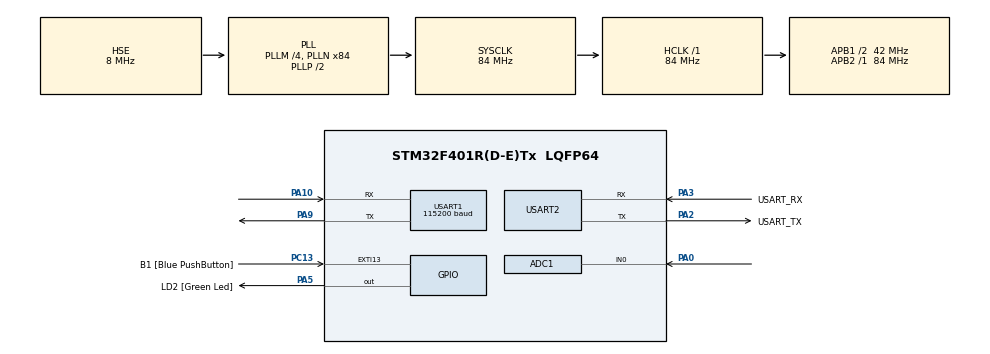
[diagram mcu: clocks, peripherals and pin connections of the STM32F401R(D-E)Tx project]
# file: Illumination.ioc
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ADC1.Channel-0\#ChannelRegularConversion=ADC_CHANNEL_0
ADC1.ClockPrescaler=ADC_CLOCK_SYNC_PCLK_DIV8
ADC1.ContinuousConvMode=ENABLE
ADC1.NbrOfConversion=1
ADC1.NbrOfConversionFlag=1
ADC1.Rank-0\#ChannelRegularConversion=1
ADC1.SamplingTime-0\#ChannelRegularConversion=ADC_SAMPLETIME_480CYCLES
ADC1.master=1
Dma.ADC1.0.Direction=DMA_PERIPH_TO_MEMORY
Dma.ADC1.0.FIFOMode=DMA_FIFOMODE_DISABLE
Dma.ADC1.0.Instance=DMA2_Stream0
Dma.ADC1.0.MemDataAlignment=DMA_MDATAALIGN_HALFWORD
Dma.ADC1.0.MemInc=DMA_MINC_ENABLE
Dma.ADC1.0.Mode=DMA_CIRCULAR
Dma.ADC1.0.PeriphDataAlignment=DMA_PDATAALIGN_HALFWORD
Dma.ADC1.0.PeriphInc=DMA_PINC_DISABLE
Dma.ADC1.0.Priority=DMA_PRIORITY_LOW
Dma.Request0=ADC1
Mcu.Family=STM32F4
Mcu.Name=STM32F401R(D-E)Tx
Mcu.Package=LQFP64
NVIC.DMA2_Stream0_IRQn=true\:0\:0\:false\:false\:true\:false\:true
NVIC.PriorityGroup=NVIC_PRIORITYGROUP_0
NVIC.TIM4_IRQn=true\:0\:0\:false\:false\:true\:true\:true
NVIC.USART1_IRQn=true\:0\:0\:false\:false\:true\:true\:true
PA0-WKUP.Signal=ADCx_IN0
PA10.Mode=Asynchronous
PA10.Signal=USART1_RX
PA13.GPIO_Label=TMS
PA13.Mode=Trace_Asynchronous_SW
PA13.Signal=SYS_JTMS-SWDIO
PA14.GPIO_Label=TCK
PA14.Mode=Trace_Asynchronous_SW
PA14.Signal=SYS_JTCK-SWCLK
PA2.GPIO_Label=USART_TX
PA2.GPIO_Mode=GPIO_MODE_AF_PP
PA2.GPIO_PuPd=GPIO_NOPULL
PA2.GPIO_Speed=GPIO_SPEED_FREQ_LOW
PA2.Mode=Asynchronous
PA2.Signal=USART2_TX
PA3.GPIO_Label=USART_RX
PA3.GPIO_Mode=GPIO_MODE_AF_PP
PA3.GPIO_PuPd=GPIO_NOPULL
PA3.GPIO_Speed=GPIO_SPEED_FREQ_LOW
PA3.Mode=Asynchronous
PA3.Signal=USART2_RX
PA5.GPIO_Label=LD2 [Green Led]
PA5.GPIO_Mode=GPIO_MODE_OUTPUT_PP
PA5.GPIO_PuPd=GPIO_NOPULL
PA5.GPIO_Speed=GPIO_SPEED_FREQ_LOW
PA5.Signal=GPIO_Output
PA9.Mode=Asynchronous
PA9.Signal=USART1_TX
PB3.GPIO_Label=SWO
PB3.Mode=Trace_Asynchronous_SW
PB3.Signal=SYS_JTDO-SWO
PC13-ANTI_TAMP.GPIO_Label=B1 [Blue PushButton]
PC13-ANTI_TAMP.GPIO_ModeDefaultEXTI=GPIO_MODE_IT_FALLING
PC13-ANTI_TAMP.GPIO_PuPd=GPIO_NOPULL
PC13-ANTI_TAMP.Signal=GPXTI13
PC14-OSC32_IN.Mode=LSE-External-Oscillator
PC14-OSC32_IN.Signal=RCC_OSC32_IN
PC15-OSC32_OUT.Mode=LSE-External-Oscillator
PC15-OSC32_OUT.Signal=RCC_OSC32_OUT
PH0\ -\ OSC_IN.Mode=HSE-External-Oscillator
PH0\ -\ OSC_IN.Signal=RCC_OSC_IN
PH1\ -\ OSC_OUT.Mode=HSE-External-Oscillator
PH1\ -\ OSC_OUT.Signal=RCC_OSC_OUT
ProjectManager.HeapSize=0x200
ProjectManager.StackSize=0x400
ProjectManager.TargetToolchain=STM32CubeIDE
RCC.48MHZClocksFreq_Value=24000000
RCC.AHBFreq_Value=84000000
RCC.APB1CLKDivider=RCC_HCLK_DIV2
RCC.APB1Freq_Value=42000000
RCC.APB1TimFreq_Value=84000000
RCC.APB2Freq_Value=84000000
RCC.APB2TimFreq_Value=84000000
RCC.CortexFreq_Value=84000000
RCC.HCLKFreq_Value=84000000
RCC.HSE_VALUE=8000000
RCC.HSI_VALUE=16000000
RCC.PLLM=4
RCC.PLLN=84
RCC.PLLQ=7
RCC.PLLSourceVirtual=RCC_PLLSOURCE_HSE
RCC.SYSCLKFreq_VALUE=84000000
RCC.SYSCLKSource=RCC_SYSCLKSOURCE_PLLCLK
RCC.VCOOutputFreq_Value=168000000
SH.ADCx_IN0.0=ADC1_IN0,IN0
TIM4.Period=6000-1
TIM4.Prescaler=8400-1
USART1.BaudRate=115200
USART1.VirtualMode=VM_ASYNC
USART2.VirtualMode=VM_ASYNC
VP_TIM4_VS_ClockSourceINT.Mode=Internal
board=NUCLEO-F401RE

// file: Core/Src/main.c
/* USER CODE BEGIN Header */
/**
  ******************************************************************************
  * @file           : main.c
  * @brief          : Main program body
  ******************************************************************************
  * @attention
  *
  * <h2><center>&copy; Copyright (c) 2021 STMicroelectronics.
  * All rights reserved.</center></h2>
  *
  * This software component is licensed by ST under BSD 3-Clause license,
  * the "License"; You may not use this file except in compliance with the
  * License. You may obtain a copy of the License at:
  *                        opensource.org/licenses/BSD-3-Clause
  *
  ******************************************************************************
  */
/* USER CODE END Header */
#include "main.h"

/* USER CODE BEGIN Includes */
#include <stdio.h>
#include <string.h>
#include <stdlib.h>
#include <inttypes.h>
/* USER CODE END Includes */

/* USER CODE BEGIN PD */
#define BUFFER_SIZE 128
/* USER CODE END PD */

ADC_HandleTypeDef hadc1;
DMA_HandleTypeDef hdma_adc1;

TIM_HandleTypeDef htim4;

UART_HandleTypeDef huart1;
UART_HandleTypeDef huart2;

/* USER CODE BEGIN PV */
uint8_t rx_buffer[BUFFER_SIZE] = {0};
uint16_t rx_buffer_len;
int threshold = 0;

/*ADC vars*/
uint16_t ADC_Raw[1] = {0};

/* USER CODE END PV */

void SystemClock_Config(void);
static void MX_GPIO_Init(void);
static void MX_USART2_UART_Init(void);
static void MX_DMA_Init(void);
static void MX_ADC1_Init(void);
static void MX_USART1_UART_Init(void);
static void MX_TIM4_Init(void);

/* USER CODE BEGIN 0 */

/*#############################################################################*/

/*----------------------ITM_SendChar-------------------------------------------*/
int _write(int file, uint8_t *ptr, int len) {
	for (int DataIdx = 0; DataIdx < len; DataIdx++) {
		ITM_SendChar(*ptr++);
	}
	return len;
}
/*----------------------ITM_SendChar-------------------------------------------*/

/*------------------------IDLE_Callback---------------------------------------*/
void HAL_UART_IDLE_Callback(UART_HandleTypeDef *huart) {
	if (huart == &huart1) { //проверка, из нужного ли uart пришли данные
		//printf("IDLE = OK\n\r");
		__HAL_UART_DISABLE_IT(&huart1, UART_IT_IDLE);
		rx_buffer_len = BUFFER_SIZE - huart->RxXferCount;

		/*----------основные действия с входящими данными-----------*/
		if (huart1.gState != HAL_UART_STATE_BUSY_TX) {
			printf("%s",rx_buffer);
			sscanf(rx_buffer, "%d", &threshold);
		    //HAL_UART_Transmit_IT(&huart1, (uint8_t*)a, sizeof(a));
			memset(rx_buffer,0,BUFFER_SIZE);
		}
		/*----------основные действия с входящими данными-----------*/

		HAL_UART_AbortReceive_IT(&huart1);
		__HAL_UART_CLEAR_IDLEFLAG(&huart1);
		__HAL_UART_ENABLE_IT(&huart1, UART_IT_IDLE);
		HAL_UART_Receive_IT(&huart1, rx_buffer, BUFFER_SIZE);
	}
}
/*------------------------IDLE_Callback---------------------------------------*/

/*------------------------RxCpltCallback---------------------------------------*/
void HAL_UART_RxCpltCallback(UART_HandleTypeDef *huart) {
	if (huart == &huart1) { //проверка, из нужного ли uart пришли данные
		printf("RxCpltCallback = OK\n\r");
		__HAL_UART_DISABLE_IT(&huart1, UART_IT_IDLE);

		printf("rx_buffer is overflow\n\r");

		HAL_UART_AbortReceive_IT(&huart1);
		__HAL_UART_CLEAR_IDLEFLAG(&huart1);
		__HAL_UART_ENABLE_IT(&huart1, UART_IT_IDLE);
		HAL_UART_Receive_IT(&huart1, rx_buffer, BUFFER_SIZE);

	}
}
/*------------------------RxCpltCallback---------------------------------------*/

/* timer 4 IRQ Handler********************/
void HAL_TIM_PeriodElapsedCallback(TIM_HandleTypeDef *htim) {
	if(htim->Instance == TIM4) {
		/*set every 100 ms*/
		HAL_ADC_Start_DMA(&hadc1, (uint32_t*)ADC_Raw, 1);
	}

}
/*#############################################################################*/

/* USER CODE END 0 */

int main(void)
{

  /* MCU Configuration--------------------------------------------------------*/

  /* Reset of all peripherals, Initializes the Flash interface and the Systick. */
  HAL_Init();

  /* Configure the system clock */
  SystemClock_Config();

  /* Initialize all configured peripherals */
  MX_GPIO_Init();
  MX_USART2_UART_Init();
  MX_DMA_Init();
  MX_ADC1_Init();
  MX_USART1_UART_Init();
  MX_TIM4_Init();

  /* Infinite loop */
  /* USER CODE BEGIN WHILE */
  HAL_ADC_Start_IT(&hadc1);
  HAL_ADC_Start_DMA(&hadc1, (uint32_t*)ADC_Raw, 1);
  HAL_TIM_Base_Start_IT(&htim4);
  __HAL_UART_ENABLE_IT(&huart1,UART_IT_IDLE);
  HAL_UART_Receive_IT(&huart1, rx_buffer, BUFFER_SIZE);

  while (1)
  {
    /* USER CODE END WHILE */

    /* USER CODE BEGIN 3 */
	if (ADC_Raw[0] < threshold +50) {
		HAL_GPIO_WritePin(LD2_GPIO_Port, LD2_Pin, GPIO_PIN_SET);
	} else if (ADC_Raw[0] > threshold +100){
		HAL_GPIO_WritePin(LD2_GPIO_Port, LD2_Pin, GPIO_PIN_RESET);

	}
	// HAL_UART_Transmit_DMA(&huart1, a, sizeof(a));
  }
  /* USER CODE END 3 */
}

void SystemClock_Config(void)
{
  RCC_OscInitTypeDef RCC_OscInitStruct = {0};
  RCC_ClkInitTypeDef RCC_ClkInitStruct = {0};

  /** Configure the main internal regulator output voltage
  */
  __HAL_RCC_PWR_CLK_ENABLE();
  __HAL_PWR_VOLTAGESCALING_CONFIG(PWR_REGULATOR_VOLTAGE_SCALE2);
  /** Initializes the RCC Oscillators according to the specified parameters
  * in the RCC_OscInitTypeDef structure.
  */
  RCC_OscInitStruct.OscillatorType = RCC_OSCILLATORTYPE_HSE;
  RCC_OscInitStruct.HSEState = RCC_HSE_ON;
  RCC_OscInitStruct.PLL.PLLState = RCC_PLL_ON;
  RCC_OscInitStruct.PLL.PLLSource = RCC_PLLSOURCE_HSE;
  RCC_OscInitStruct.PLL.PLLM = 4;
  RCC_OscInitStruct.PLL.PLLN = 84;
  RCC_OscInitStruct.PLL.PLLP = RCC_PLLP_DIV2;
  RCC_OscInitStruct.PLL.PLLQ = 7;
  if (HAL_RCC_OscConfig(&RCC_OscInitStruct) != HAL_OK)
  {
    Error_Handler();
  }
  /** Initializes the CPU, AHB and APB buses clocks
  */
  RCC_ClkInitStruct.ClockType = RCC_CLOCKTYPE_HCLK|RCC_CLOCKTYPE_SYSCLK
                              |RCC_CLOCKTYPE_PCLK1|RCC_CLOCKTYPE_PCLK2;
  RCC_ClkInitStruct.SYSCLKSource = RCC_SYSCLKSOURCE_PLLCLK;
  RCC_ClkInitStruct.AHBCLKDivider = RCC_SYSCLK_DIV1;
  RCC_ClkInitStruct.APB1CLKDivider = RCC_HCLK_DIV2;
  RCC_ClkInitStruct.APB2CLKDivider = RCC_HCLK_DIV1;

  if (HAL_RCC_ClockConfig(&RCC_ClkInitStruct, FLASH_LATENCY_2) != HAL_OK)
  {
    Error_Handler();
  }
}

static void MX_ADC1_Init(void)
{

  ADC_ChannelConfTypeDef sConfig = {0};

  /** Configure the global features of the ADC (Clock, Resolution, Data Alignment and number of conversion)
  */
  hadc1.Instance = ADC1;
  hadc1.Init.ClockPrescaler = ADC_CLOCK_SYNC_PCLK_DIV8;
  hadc1.Init.Resolution = ADC_RESOLUTION_12B;
  hadc1.Init.ScanConvMode = DISABLE;
  hadc1.Init.ContinuousConvMode = ENABLE;
  hadc1.Init.DiscontinuousConvMode = DISABLE;
  hadc1.Init.ExternalTrigConvEdge = ADC_EXTERNALTRIGCONVEDGE_NONE;
  hadc1.Init.ExternalTrigConv = ADC_SOFTWARE_START;
  hadc1.Init.DataAlign = ADC_DATAALIGN_RIGHT;
  hadc1.Init.NbrOfConversion = 1;
  hadc1.Init.DMAContinuousRequests = DISABLE;
  hadc1.Init.EOCSelection = ADC_EOC_SINGLE_CONV;
  if (HAL_ADC_Init(&hadc1) != HAL_OK)
  {
    Error_Handler();
  }
  /** Configure for the selected ADC regular channel its corresponding rank in the sequencer and its sample time.
  */
  sConfig.Channel = ADC_CHANNEL_0;
  sConfig.Rank = 1;
  sConfig.SamplingTime = ADC_SAMPLETIME_480CYCLES;
  if (HAL_ADC_ConfigChannel(&hadc1, &sConfig) != HAL_OK)
  {
    Error_Handler();
  }

}

static void MX_TIM4_Init(void)
{

  TIM_ClockConfigTypeDef sClockSourceConfig = {0};
  TIM_MasterConfigTypeDef sMasterConfig = {0};

  htim4.Instance = TIM4;
  htim4.Init.Prescaler = 8400-1;
  htim4.Init.CounterMode = TIM_COUNTERMODE_UP;
  htim4.Init.Period = 6000-1;
  htim4.Init.ClockDivision = TIM_CLOCKDIVISION_DIV1;
  htim4.Init.AutoReloadPreload = TIM_AUTORELOAD_PRELOAD_DISABLE;
  if (HAL_TIM_Base_Init(&htim4) != HAL_OK)
  {
    Error_Handler();
  }
  sClockSourceConfig.ClockSource = TIM_CLOCKSOURCE_INTERNAL;
  if (HAL_TIM_ConfigClockSource(&htim4, &sClockSourceConfig) != HAL_OK)
  {
    Error_Handler();
  }
  sMasterConfig.MasterOutputTrigger = TIM_TRGO_RESET;
  sMasterConfig.MasterSlaveMode = TIM_MASTERSLAVEMODE_DISABLE;
  if (HAL_TIMEx_MasterConfigSynchronization(&htim4, &sMasterConfig) != HAL_OK)
  {
    Error_Handler();
  }

}

static void MX_USART1_UART_Init(void)
{

  huart1.Instance = USART1;
  huart1.Init.BaudRate = 115200;
  huart1.Init.WordLength = UART_WORDLENGTH_8B;
  huart1.Init.StopBits = UART_STOPBITS_1;
  huart1.Init.Parity = UART_PARITY_NONE;
  huart1.Init.Mode = UART_MODE_TX_RX;
  huart1.Init.HwFlowCtl = UART_HWCONTROL_NONE;
  huart1.Init.OverSampling = UART_OVERSAMPLING_16;
  if (HAL_UART_Init(&huart1) != HAL_OK)
  {
    Error_Handler();
  }

}

static void MX_USART2_UART_Init(void)
{

  huart2.Instance = USART2;
  huart2.Init.BaudRate = 115200;
  huart2.Init.WordLength = UART_WORDLENGTH_8B;
  huart2.Init.StopBits = UART_STOPBITS_1;
  huart2.Init.Parity = UART_PARITY_NONE;
  huart2.Init.Mode = UART_MODE_TX_RX;
  huart2.Init.HwFlowCtl = UART_HWCONTROL_NONE;
  huart2.Init.OverSampling = UART_OVERSAMPLING_16;
  if (HAL_UART_Init(&huart2) != HAL_OK)
  {
    Error_Handler();
  }

}

static void MX_DMA_Init(void)
{

  /* DMA controller clock enable */
  __HAL_RCC_DMA2_CLK_ENABLE();

  /* DMA interrupt init */
  /* DMA2_Stream0_IRQn interrupt configuration */
  HAL_NVIC_SetPriority(DMA2_Stream0_IRQn, 0, 0);
  HAL_NVIC_EnableIRQ(DMA2_Stream0_IRQn);

}

static void MX_GPIO_Init(void)
{
  GPIO_InitTypeDef GPIO_InitStruct = {0};

  /* GPIO Ports Clock Enable */
  __HAL_RCC_GPIOC_CLK_ENABLE();
  __HAL_RCC_GPIOH_CLK_ENABLE();
  __HAL_RCC_GPIOA_CLK_ENABLE();
  __HAL_RCC_GPIOB_CLK_ENABLE();

  /*Configure GPIO pin Output Level */
  HAL_GPIO_WritePin(LD2_GPIO_Port, LD2_Pin, GPIO_PIN_RESET);

  /*Configure GPIO pin : B1_Pin */
  GPIO_InitStruct.Pin = B1_Pin;
  GPIO_InitStruct.Mode = GPIO_MODE_IT_FALLING;
  GPIO_InitStruct.Pull = GPIO_NOPULL;
  HAL_GPIO_Init(B1_GPIO_Port, &GPIO_InitStruct);

  /*Configure GPIO pin : LD2_Pin */
  GPIO_InitStruct.Pin = LD2_Pin;
  GPIO_InitStruct.Mode = GPIO_MODE_OUTPUT_PP;
  GPIO_InitStruct.Pull = GPIO_NOPULL;
  GPIO_InitStruct.Speed = GPIO_SPEED_FREQ_LOW;
  HAL_GPIO_Init(LD2_GPIO_Port, &GPIO_InitStruct);

}

void Error_Handler(void)
{
  __disable_irq();
  while (1)
  {
  }
}

/************************ (C) COPYRIGHT STMicroelectronics *****END OF FILE****/
